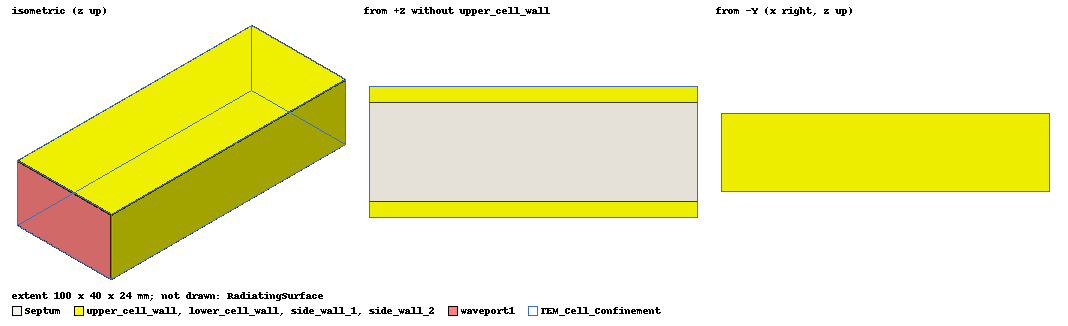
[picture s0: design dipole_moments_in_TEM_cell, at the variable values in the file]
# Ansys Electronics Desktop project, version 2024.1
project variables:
  $GndPinXxX = 1mm
  $GndPadXxX = 6mm
  $GndPinLength = 1mm
  $PinLength = 1mm
  $AntPadStep = 0.1mm
  $Diameter1 = 1.3mm
  $AntiPadDiameter = 4mm
  $GndPadHigth = 1mm
  $Diameter2 = 4.35mm
  $ConnectorHight = 4.5mm
  $Diameter3 = 5mm
  $freq = 0MHz
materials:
  copper: permeability=0.999991 conductivity=58000000
  vacuum: permittivity=1
  FR4_epoxy: permittivity=4.4 permeability=1 dielectric_loss_tangent=0.02
  Teflon (tm): permittivity=2.1 dielectric_loss_tangent=0.001
  gold: permeability=0.99996 conductivity=41000000
  pec: conductivity=1e+30
  perfect conductor: conductivity=1e+30

design dipole_moments_in_TEM_cell (HFSS, HFSS Modal Network, model units mm)
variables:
  b = 12mm  # 17
  w = 30mm/2  # 27/2
  a = 20mm  # 20
  length = 100mm  # 100
  t = 0.1mm  # 0.1
  ez_height = 6mm
  ey_height = 6mm
  ey_offset = 0mm
  ez_offset = 0mm
  ex_offset = 0mm
  ex_height = 6mm
  mz_offset = 0mm
  mz_height = 6mm
  my_offset = 0mm
  my_height = 6mm
  mx_offset = 0mm
  mx_height = 6mm
  ex_mag = 0
  ex_phase = 0deg
  ey_mag = 1
  ey_phase = 0deg
  ez_mag = 0
  ez_phase = 0deg
  mx_mag = 0Vm
  mx_phase = 0deg
  my_mag = 0Vm
  my_phase = 0deg
  mz_mag = 0Vm
  mz_phase = 0deg
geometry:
  upper_cell_wall = rectangle(corner=(-length/2, -a, b), x_size=length, y_size=2*a)
  lower_cell_wall = upper_cell_wall.duplicate_around_axis(axis=X, angle=180deg, total=2)
  side_wall_1 = rectangle(corner=(-length/2, -a, -b), z_size=2*b, x_size=length)
  side_wall_2 = side_wall_1.duplicate_around_axis(axis=X, angle=180deg, total=2)
  Septum [perfect conductor] = rectangle(corner=(-length/2, -w, (-t/2) mm), x_size=length, y_size=2*w)
  Septum.thicken(t, both sides)
  waveport2 = rectangle(corner=(-length/2, -a, -b), y_size=2*a, z_size=2*b)
  waveport1 = waveport2.duplicate_around_axis(axis=Z, angle=180deg, total=2)
  TEM_Cell_Confinement [vacuum] = box(corner=(-length/2, -a, -b), size=(length, 2*a, 2*b))
  RadiatingSurface [vacuum] = region(absolute_offset: +X=0mm, -X=0mm, +Y=10mm, -Y=10mm, +Z=10mm, -Z=10mm)
  coordinate_system RelativeCS9 = origin=(-75mm, 100mm, -100mm) x=(1mm, 0mm, 0mm) y=(0mm, 1mm, 0mm)
  coordinate_system RelativeCS10 = origin=(0mm, 0mm, -60mm) x=(1mm, 0mm, 0mm) y=(0mm, 1mm, 0mm) in RelativeCS9
  coordinate_system RelativeCS11 = origin=(235mm, 130mm, 0mm) x=(1mm, 0mm, 0mm) y=(0mm, 1mm, 0mm) in RelativeCS10
  coordinate_system RelativeCS12 = origin=(-85mm, -165mm, 110.5mm) x=(1mm, 0mm, 0mm) y=(0mm, 1mm, 0mm) in RelativeCS11
  coordinate_system RelativeCS13 = origin=(-75mm, -65mm, 49.5mm) x=(1mm, 0mm, 0mm) y=(0mm, 1mm, 0mm) in RelativeCS12
  coordinate_system RelativeCS14 = origin=(235mm, 130mm, 0mm) x=(1mm, 0mm, 0mm) y=(0mm, 1mm, 0mm) in RelativeCS13
  coordinate_system RelativeCS15 = origin=(-85mm, -165mm, 110.5mm) x=(1mm, 0mm, 0mm) y=(0mm, 1mm, 0mm) in RelativeCS14
  coordinate_system RelativeCS16 = origin=(1mm, 0.14142136mm, 10.35mm) x=(1mm, 0mm, 0mm) y=(0mm, 1mm, 0mm)
  coordinate_system RelativeCS17 = origin=(-0.1mm, 0mm, 1.65mm) x=(1mm, 0mm, 0mm) y=(0mm, 1mm, 0mm) in RelativeCS16
  coordinate_system RelativeCS18 = origin=(0.1mm, 0mm, 0mm) x=(1mm, 0mm, 0mm) y=(0mm, 1mm, 0mm) in RelativeCS17
  coordinate_system RelativeCS19 = origin=(1.1mm, 0mm, -1.5mm) x=(1mm, 0mm, 0mm) y=(0mm, 1mm, 0mm) in RelativeCS18
  coordinate_system RelativeCS20 = origin=(-1.1mm, 0mm, 1.55mm) x=(1mm, 0mm, 0mm) y=(0mm, 1mm, 0mm) in RelativeCS19
  coordinate_system RelativeCS21 = origin=(-50mm, 0mm, 12mm) x=(1mm, 0mm, 0mm) y=(0mm, 1mm, 0mm)
  point Point1 = (0mm, 0mm, -6mm) in RelativeCS21
  coordinate_system RelativeCS22 = origin=(50mm, 0mm, -12mm) x=(1mm, 0mm, 0mm) y=(0mm, 1mm, 0mm) in RelativeCS21
  coordinate_system RelativeCS31 = origin=(-75mm, 100mm, -100mm) x=(1mm, 0mm, 0mm) y=(0mm, 1mm, 0mm) in RelativeCS22
  coordinate_system RelativeCS32 = origin=(0mm, 0mm, -60mm) x=(1mm, 0mm, 0mm) y=(0mm, 1mm, 0mm) in RelativeCS31
  coordinate_system RelativeCS23 = origin=(235mm, 130mm, 0mm) x=(1mm, 0mm, 0mm) y=(0mm, 1mm, 0mm) in RelativeCS32
  coordinate_system RelativeCS24 = origin=(-85mm, -165mm, 110.5mm) x=(1mm, 0mm, 0mm) y=(0mm, 1mm, 0mm) in RelativeCS23
  coordinate_system RelativeCS25 = origin=(-75mm, -65mm, 49.5mm) x=(1mm, 0mm, 0mm) y=(0mm, 1mm, 0mm) in RelativeCS24
  coordinate_system RelativeCS26 = origin=(235mm, 130mm, 0mm) x=(1mm, 0mm, 0mm) y=(0mm, 1mm, 0mm) in RelativeCS25
  coordinate_system RelativeCS27 = origin=(-85mm, -165mm, 110.5mm) x=(1mm, 0mm, 0mm) y=(0mm, 1mm, 0mm) in RelativeCS26
  coordinate_system RelativeCS28 = origin=(1mm, 0.14142136mm, 10.35mm) x=(1mm, 0mm, 0mm) y=(0mm, 1mm, 0mm) in RelativeCS22
  coordinate_system RelativeCS29 = origin=(-0.1mm, 0mm, 1.65mm) x=(1mm, 0mm, 0mm) y=(0mm, 1mm, 0mm) in RelativeCS28
  coordinate_system RelativeCS30 = origin=(0.1mm, 0mm, 0mm) x=(1mm, 0mm, 0mm) y=(0mm, 1mm, 0mm) in RelativeCS29
  coordinate_system RelativeCS33 = origin=(50mm, 0mm, -0.05005mm) x=(1mm, 0mm, 0mm) y=(0mm, 1mm, 0mm) in RelativeCS22
  coordinate_system RelativeCS34 = origin=(0mm, 0mm, 0.05mm) x=(1mm, 0mm, 0mm) y=(0mm, 1mm, 0mm) in RelativeCS33
  point Point2 = (0mm, 0mm, 6mm) in RelativeCS34
  coordinate_system RelativeCS35 = origin=(-49mm, 0.14142136mm, 12.00005mm) x=(1mm, 0mm, 0mm) y=(0mm, 1mm, 0mm) in RelativeCS34
  coordinate_system RelativeCS36 = origin=(-1mm, -0.14142136mm, 0mm) x=(1mm, 0mm, 0mm) y=(0mm, 1mm, 0mm) in RelativeCS35
  coordinate_system RelativeCS37 = origin=(73mm, -29.6mm, 0mm) x=(1mm, 0mm, 0mm) y=(0mm, 1mm, 0mm) in RelativeCS36
  coordinate_system RelativeCS38 = origin=(-14.8mm, 3.2mm, 0mm) x=(1mm, 0mm, 0mm) y=(0mm, 1mm, 0mm) in RelativeCS37
  coordinate_system RelativeCS39 = origin=(-58.2mm, 26.541421mm, 0.05mm) x=(1mm, 0mm, 0mm) y=(0mm, 1mm, 0mm) in RelativeCS38
  coordinate_system RelativeCS40 = origin=(61.4mm, -27.8mm, 0mm) x=(1mm, 0mm, 0mm) y=(0mm, 1mm, 0mm) in RelativeCS39
  coordinate_system RelativeCS41 = origin=(-61.4mm, 27.8mm, -0.05mm) x=(1mm, 0mm, 0mm) y=(0mm, 1mm, 0mm) in RelativeCS40
  coordinate_system RelativeCS42 = origin=(4mm, 0mm, 0mm) x=(1mm, 0mm, 0mm) y=(0mm, 1mm, 0mm) in RelativeCS41
  coordinate_system RelativeCS43 = origin=(-4mm, 0mm, 0mm) x=(1mm, 0mm, 0mm) y=(0mm, 1mm, 0mm) in RelativeCS42
  coordinate_system RelativeCS44 = origin=((-0.70000000000001+0.7) mm, -0.005mm, 0mm) x=(1mm, 0mm, 0mm) y=(0mm, 1mm, 0mm) in RelativeCS43
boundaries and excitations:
  PerfE1: Perfect E Objects=[upper_cell_wall, lower_cell_wall, side_wall_1, side_wall_2]
  Open1: Radiation Objects=RadiatingSurface
  electric_dipole_moment_z-axis: Hertzian-Dipole Incident Wave IsCartesian EoX=0 EoY=0 EoZ=1 kX=0 kY=0 kZ=1 OriginX=0mm OriginY=ez_offset OriginZ=ez_height SphereRadius=0.01mm IsElectricDipole=true
  electric_dipole_moment_y-axis: Hertzian-Dipole Incident Wave IsCartesian EoX=0 EoY=1 EoZ=0 kX=0 kY=0 kZ=1 OriginX=0mm OriginY=ey_offset OriginZ=ey_height SphereRadius=0.01mm IsElectricDipole=true
  electric_dipole_moment_x-axis: Hertzian-Dipole Incident Wave IsCartesian EoX=1 EoY=0 EoZ=0 kX=0 kY=0 kZ=1 OriginX=0mm OriginY=ex_offset OriginZ=ex_height SphereRadius=0.01mm IsElectricDipole=true
  magnetic_dipole_moment_z-axis: Hertzian-Dipole Incident Wave IsCartesian EoX=0 EoY=0 EoZ=1 kX=0 kY=0 kZ=1 OriginX=0mm OriginY=mz_offset OriginZ=mz_height SphereRadius=0.01mm IsElectricDipole=false
  magnetic_dipole_moment_y-axis: Hertzian-Dipole Incident Wave IsCartesian EoX=0 EoY=1 EoZ=0 kX=0 kY=0 kZ=1 OriginX=0mm OriginY=my_offset OriginZ=my_height SphereRadius=0.01mm IsElectricDipole=false
  magnetic_dipole_moment_x-axis: Hertzian-Dipole Incident Wave IsCartesian EoX=1 EoY=0 EoZ=0 kX=0 kY=0 kZ=1 OriginX=0mm OriginY=mx_offset OriginZ=mx_height SphereRadius=0.01mm IsElectricDipole=false
  waveport1: Wave Port Objects=waveport1 WavePortType=Modal NumModes=3 Modes{Mode1{CharImp=Zpi} Mode2{CharImp=Zpi} Mode3{CharImp=Zpi}}
  waveport2: Wave Port Objects=waveport2 WavePortType=Modal NumModes=3 Modes{Mode1{CharImp=Zpi} Mode2{CharImp=Zpi} Mode3{CharImp=Zpi}}
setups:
  Setup1: HfssDriven Frequency=3GHz MaxDeltaS=0.002 MaximumPasses=10 MinimumPasses=1 MinimumConvergedPasses=1 PercentRefinement=30 BasisOrder=1 PortAccuracy=2 DrivenSolverType="Direct Solver"
    sweep Sweep: 1MHz to 4GHz, 401 points; Type=Discrete SaveFields
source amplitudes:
  waveport1:1, waveport1:2, waveport1:3, waveport2:1, waveport2:2, waveport2:3: 0W 0deg
  electric_dipole_moment_z-axis:1: ez_mag ez_phase
  electric_dipole_moment_y-axis:1: ey_mag ey_phase
  electric_dipole_moment_x-axis:1: ex_mag ex_phase
  magnetic_dipole_moment_z-axis:1: mz_mag mz_phase
  magnetic_dipole_moment_y-axis:1: my_mag my_phase
  magnetic_dipole_moment_x-axis:1: mx_mag mx_phase
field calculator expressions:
  Ex = Fundamental_Quantity(0) | ScalarX | CmplxMag
  Ey = Fundamental_Quantity(0) | ScalarY | CmplxMag
  Ez = Fundamental_Quantity(0) | ScalarZ | CmplxMag
  UandI = Complex_Constant(-147.425498730031, 3.91117166145796)
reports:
  S12 Parameter: dB(S(waveport1:2,waveport2:2)), dB(S(waveport1:1,waveport2:1)), dB(S(waveport1:3,waveport2:3)) vs Freq on Setup1 : Sweep
